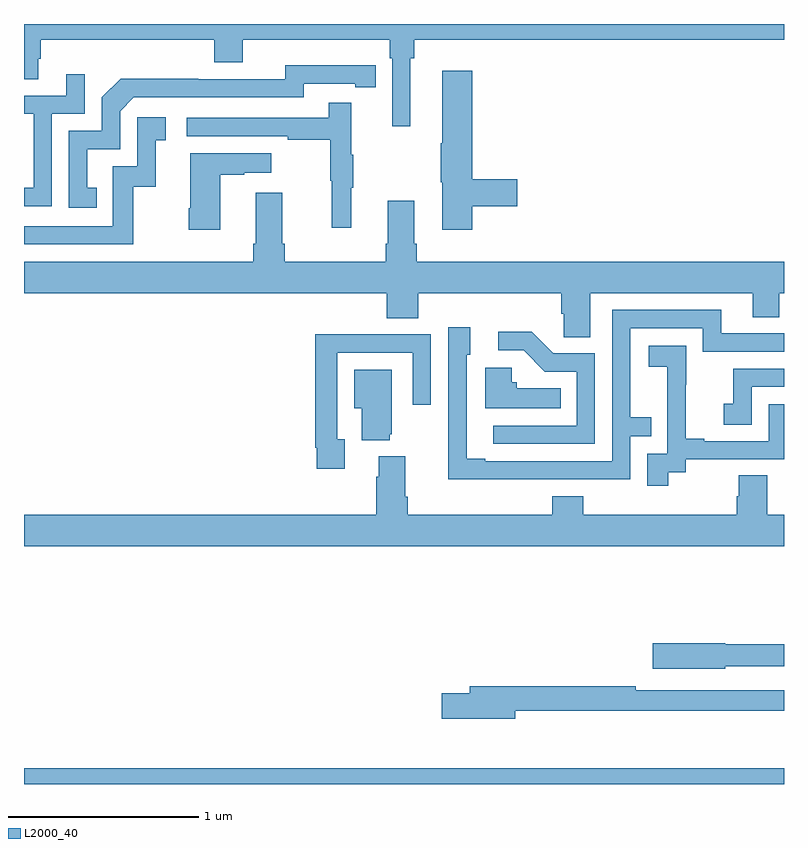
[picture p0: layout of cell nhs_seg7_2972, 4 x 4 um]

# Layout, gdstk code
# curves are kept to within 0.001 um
import gdstk
lib = gdstk.Library(unit=1e-6, precision=1e-09)
def R(c, l, rs):  # rectangles x0, y0, x1, y1
    for r in rs: c.add(gdstk.rectangle(r[:2], r[2:], *l))
def P(c, l, *ps):  # polygons
    for p in ps: c.add(gdstk.Polygon(p, *l))
L2000_40 = (2000, 40)

nhs_seg7_2972 = lib.new_cell('nhs_seg7_2972')
R(nhs_seg7_2972, L2000_40, [(301,1030,305,1030.084)])
P(nhs_seg7_2972, L2000_40, [(303.034,1033.82),(303.053,1033.82),(303.053,1033.916),(305,1033.916),(305,1034),(301,1034),(301,1033.708),(301.075,1033.708),(301.075,1033.818),(301.088,1033.818),(301.088,1033.916),(302,1033.916),(302,1033.799),(302.152,1033.799),(302.152,1033.916),(302.924,1033.916),(302.924,1033.82),(302.937,1033.82),(302.937,1033.461),(303.034,1033.461)],
  [(301.382,1033.137),(301.333,1033.137),(301.333,1033.341),(301.506,1033.341),(301.506,1033.542),(301.578,1033.614),(302.472,1033.614),(302.472,1033.686),(302.744,1033.686),(302.744,1033.666),(302.852,1033.666),(302.852,1033.782),(302.376,1033.783),(302.376,1033.71),(301.916,1033.71),(301.916,1033.712),(301.508,1033.712),(301.41,1033.614),(301.41,1033.437),(301.236,1033.437),(301.236,1033.032),(301.382,1033.032)],
  [(303.359,1033.042),(303.595,1033.042),(303.595,1033.184),(303.359,1033.184),(303.359,1033.753),(303.2,1033.753),(303.2,1033.373),(303.193,1033.373),(303.193,1033.167),(303.2,1033.167),(303.2,1032.918),(303.359,1032.918)],
  [(301.146,1033.527),(301.32,1033.527),(301.32,1033.735),(301.223,1033.735),(301.223,1033.623),(301,1033.623),(301,1033.527),(301.05,1033.527),(301.05,1033.138),(301,1033.138),(301,1033.041),(301.146,1033.041)],
  [(302.723,1033.139),(302.734,1033.139),(302.734,1033.313),(302.723,1033.313),(302.723,1033.585),(302.605,1033.585),(302.605,1033.506),(301.857,1033.506),(301.857,1033.41),(302.389,1033.41),(302.389,1033.39),(302.613,1033.39),(302.613,1033.176),(302.62,1033.176),(302.62,1032.927),(302.723,1032.927)],
  [(301.576,1033.143),(301.694,1033.143),(301.694,1033.389),(301.747,1033.389),(301.747,1033.51),(301.596,1033.51),(301.596,1033.251),(301.467,1033.251),(301.467,1032.936),(301,1032.936),(301,1032.84),(301.576,1032.84)],
  [(302.032,1033.207),(302.159,1033.207),(302.159,1033.217),(302.302,1033.217),(302.302,1033.321),(301.874,1033.321),(301.874,1033.03),(301.867,1033.03),(301.867,1032.918),(302.032,1032.918)],
  [(303.979,1032.584),(304.835,1032.584),(304.835,1032.457),(304.974,1032.457),(304.974,1032.584),(305,1032.584),(305,1032.748),(303.068,1032.748),(303.068,1032.844),(303.055,1032.844),(303.055,1033.069),(302.915,1033.069),(302.915,1032.844),(302.903,1032.844),(302.903,1032.748),(302.372,1032.748),(302.372,1032.844),(302.359,1032.844),(302.359,1033.111),(302.219,1033.111),(302.219,1032.844),(302.207,1032.844),(302.207,1032.748),(301,1032.748),(301,1032.584),(302.909,1032.584),(302.909,1032.451),(303.074,1032.451),(303.074,1032.584),(303.827,1032.584),(303.827,1032.475),(303.84,1032.475),(303.84,1032.352),(303.979,1032.352)],
  [(303.695,1031.604),(304.191,1031.604),(304.191,1031.829),(304.301,1031.829),(304.301,1031.93),(304.191,1031.93),(304.191,1032.399),(304.572,1032.399),(304.572,1032.276),(305,1032.276),(305,1032.372),(304.669,1032.372),(304.669,1032.495),(304.095,1032.495),(304.095,1031.7),(303.427,1031.7),(303.427,1031.713),(303.33,1031.713),(303.33,1032.258),(303.349,1032.258),(303.349,1032.403),(303.234,1032.403),(303.234,1031.909),(303.232,1031.909),(303.232,1031.603),(303.695,1031.603)],
  [(304.005,1032.267),(303.786,1032.267),(303.673,1032.38),(303.495,1032.38),(303.495,1032.282),(303.629,1032.282),(303.74,1032.171),(303.909,1032.171),(303.909,1031.886),(303.471,1031.886),(303.471,1031.79),(304.005,1031.79)],
  [(302.689,1031.814),(302.649,1031.814),(302.649,1032.27),(303.045,1032.27),(303.045,1031.997),(303.141,1031.997),(303.141,1032.366),(302.825,1032.366),(302.825,1032.368),(302.533,1032.368),(302.533,1031.77),(302.541,1031.77),(302.541,1031.658),(302.689,1031.658)],
  [(304.39,1031.641),(304.482,1031.641),(304.482,1031.709),(305,1031.709),(305,1032),(304.92,1032),(304.92,1031.805),(304.579,1031.805),(304.579,1031.818),(304.484,1031.818),(304.484,1032.101),(304.485,1032.101),(304.485,1032.307),(304.287,1032.307),(304.287,1032.197),(304.385,1032.197),(304.385,1031.969),(304.386,1031.969),(304.386,1031.739),(304.281,1031.739),(304.281,1031.571),(304.39,1031.571)],
  [(303.824,1032.082),(303.594,1032.082),(303.594,1032.114),(303.567,1032.114),(303.567,1032.19),(303.428,1032.19),(303.428,1031.978),(303.824,1031.978)],
  [(304.83,1032.09),(305,1032.09),(305,1032.186),(304.732,1032.186),(304.732,1032.001),(304.683,1032.001),(304.683,1031.892),(304.83,1031.892)],
  [(302.924,1031.841),(302.935,1031.841),(302.935,1032.181),(302.738,1032.181),(302.738,1031.978),(302.777,1031.978),(302.777,1031.81),(302.924,1031.81)],
  [(305,1031.416),(304.911,1031.416),(304.911,1031.624),(304.763,1031.624),(304.763,1031.514),(304.751,1031.514),(304.751,1031.416),(303.944,1031.416),(303.944,1031.515),(303.779,1031.515),(303.779,1031.416),(303.02,1031.416),(303.02,1031.512),(303.007,1031.512),(303.007,1031.725),(302.867,1031.725),(302.867,1031.618),(302.855,1031.618),(302.855,1031.416),(301,1031.416),(301,1031.252),(305,1031.252)],
  [(304.692,1030.62),(305,1030.62),(305,1030.736),(304.692,1030.736),(304.692,1030.742),(304.308,1030.742),(304.308,1030.607),(304.692,1030.607)],
  [(303.586,1030.386),(305,1030.386),(305,1030.494),(304.22,1030.494),(304.22,1030.514),(303.347,1030.514),(303.347,1030.478),(303.198,1030.478),(303.198,1030.343),(303.586,1030.343)])

lib.write_gds('nhs_seg7_2972.gds')
